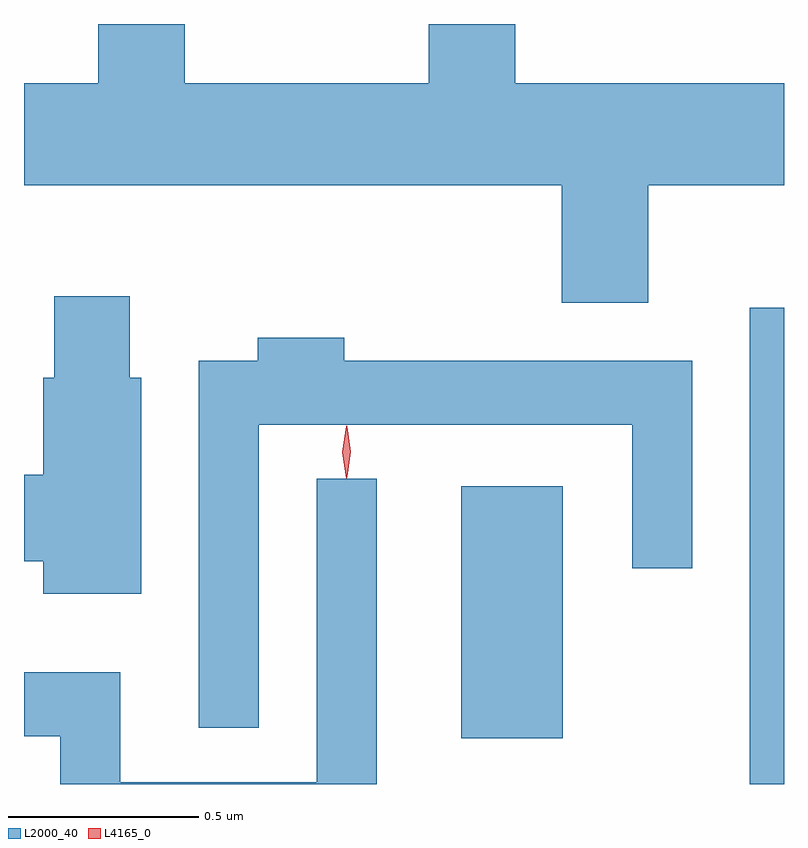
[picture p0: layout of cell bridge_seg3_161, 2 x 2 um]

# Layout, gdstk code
import gdstk
lib = gdstk.Library(unit=1e-6, precision=1e-09)
def R(c, l, rs):  # rectangles x0, y0, x1, y1
    for r in rs: c.add(gdstk.rectangle(r[:2], r[2:], *l))
def P(c, l, *ps):  # polygons
    for p in ps: c.add(gdstk.Polygon(p, *l))
L2000_40 = (2000, 40)
L4165_0 = (4165, 0)

bridge_seg3_161 = lib.new_cell('bridge_seg3_161')
R(bridge_seg3_161, L2000_40, [(909.396,1195.48,909.486,1196.733), (908.636,1195.601,908.904,1196.264)])
P(bridge_seg3_161, L2000_40, [(909.129,1197.056),(909.486,1197.056),(909.486,1197.324),(908.779,1197.324),(908.779,1197.48),(908.551,1197.48),(908.551,1197.324),(907.909,1197.324),(907.909,1197.48),(907.681,1197.48),(907.681,1197.324),(907.486,1197.324),(907.486,1197.056),(908.901,1197.056),(908.901,1196.746),(909.129,1196.746)],
  [(907.794,1196.549),(907.764,1196.549),(907.764,1196.764),(907.566,1196.764),(907.566,1196.549),(907.536,1196.549),(907.536,1196.294),(907.486,1196.294),(907.486,1196.066),(907.536,1196.066),(907.536,1195.981),(907.794,1195.981)],
  [(908.104,1196.426),(909.086,1196.426),(909.086,1196.048),(909.244,1196.048),(909.244,1196.594),(908.329,1196.594),(908.329,1196.654),(908.101,1196.654),(908.101,1196.594),(907.946,1196.594),(907.946,1195.628),(908.104,1195.628)],
  [(908.414,1196.283),(908.256,1196.283),(908.256,1195.484),(907.739,1195.484),(907.739,1195.774),(907.486,1195.774),(907.486,1195.606),(907.581,1195.606),(907.581,1195.48),(908.414,1195.48)])
P(bridge_seg3_161, L4165_0, [(908.334,1196.284),(908.334,1196.284),(908.324,1196.353),(908.334,1196.422),(908.334,1196.423),(908.335,1196.422),(908.344,1196.353),(908.335,1196.284)],
  [(908.336,1196.287),(908.335,1196.288),(908.326,1196.354),(908.335,1196.42),(908.336,1196.421),(908.336,1196.42),(908.346,1196.354),(908.336,1196.288)])

lib.write_gds('bridge_seg3_161.gds')
